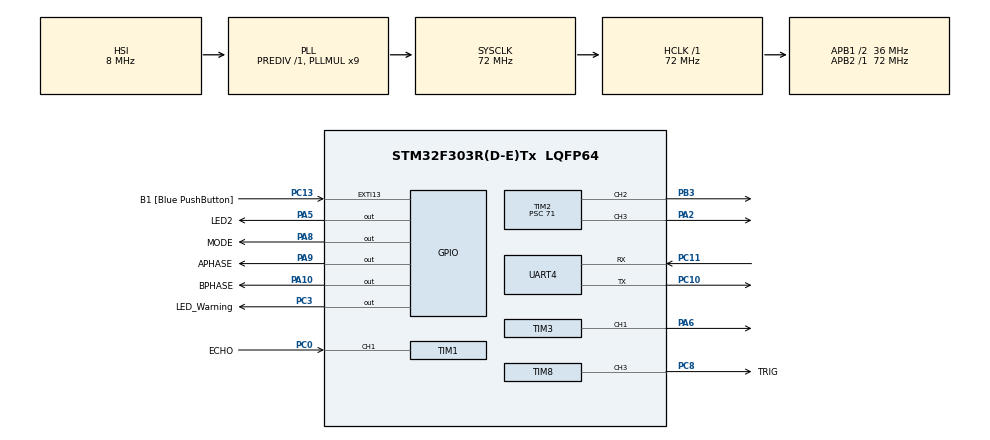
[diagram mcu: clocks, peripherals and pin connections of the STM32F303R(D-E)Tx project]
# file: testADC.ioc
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Dma.Request0=UART4_RX
Dma.UART4_RX.0.Direction=DMA_PERIPH_TO_MEMORY
Dma.UART4_RX.0.Instance=DMA2_Channel3
Dma.UART4_RX.0.MemDataAlignment=DMA_MDATAALIGN_BYTE
Dma.UART4_RX.0.MemInc=DMA_MINC_ENABLE
Dma.UART4_RX.0.Mode=DMA_CIRCULAR
Dma.UART4_RX.0.PeriphDataAlignment=DMA_PDATAALIGN_BYTE
Dma.UART4_RX.0.PeriphInc=DMA_PINC_DISABLE
Dma.UART4_RX.0.Priority=DMA_PRIORITY_LOW
Mcu.Family=STM32F3
Mcu.Name=STM32F303R(D-E)Tx
Mcu.Package=LQFP64
NVIC.DMA2_Channel3_IRQn=true\:0\:0\:false\:false\:true\:true\:true\:true
NVIC.PriorityGroup=NVIC_PRIORITYGROUP_0
NVIC.TIM1_CC_IRQn=true\:0\:0\:false\:false\:true\:true\:true\:true
PA10.GPIO_Label=BPHASE
PA10.Signal=GPIO_Output
PA2.Signal=S_TIM2_CH3
PA5.GPIO_Label=LED2
PA5.Signal=GPIO_Output
PA6.Signal=S_TIM3_CH1
PA8.GPIO_Label=MODE
PA8.Signal=GPIO_Output
PA9.GPIO_Label=APHASE
PA9.Signal=GPIO_Output
PB11.GPIO_Label=TRIG
PB11.Signal=S_TIM2_CH4
PB3.Signal=S_TIM2_CH2
PC0.GPIO_Label=ECHO
PC0.Signal=S_TIM1_CH1
PC10.Mode=Asynchronous
PC10.Signal=UART4_TX
PC11.Mode=Asynchronous
PC11.Signal=UART4_RX
PC13.GPIO_Label=B1 [Blue PushButton]
PC13.GPIO_ModeDefaultEXTI=GPIO_MODE_IT_FALLING
PC13.Signal=GPXTI13
PC3.GPIO_Label=LED_Warning
PC3.Signal=GPIO_Output
PC8.GPIO_Label=TRIG
PC8.Signal=S_TIM8_CH3
ProjectManager.HeapSize=0x200
ProjectManager.StackSize=0x400
ProjectManager.TargetToolchain=STM32CubeIDE
RCC.AHBFreq_Value=72000000
RCC.APB1CLKDivider=RCC_HCLK_DIV2
RCC.APB1Freq_Value=36000000
RCC.APB1TimFreq_Value=72000000
RCC.APB2Freq_Value=72000000
RCC.APB2TimFreq_Value=72000000
RCC.CortexFreq_Value=72000000
RCC.HCLKFreq_Value=72000000
RCC.HSE_VALUE=8000000
RCC.HSI_VALUE=8000000
RCC.LSE_VALUE=32768
RCC.PLLM=8
RCC.PLLMUL=RCC_PLL_MUL9
RCC.PLLN=336
RCC.PLLP=RCC_PLLP_DIV4
RCC.PLLQ=7
RCC.RCC_PLLsource_Clock_Source_FROM_HSE=RCC_HSE_PREDIV_DIV2
RCC.SYSCLKFreq_VALUE=72000000
RCC.SYSCLKSourceVirtual=RCC_SYSCLKSOURCE_PLLCLK
RCC.USBFreq_Value=72000000
SH.S_TIM1_CH1.0=TIM1_CH1,PWM_Input_1
SH.S_TIM2_CH2.0=TIM2_CH2,PWM Generation2 CH2
SH.S_TIM2_CH3.0=TIM2_CH3,PWM Generation3 CH3
SH.S_TIM2_CH4.0=TIM2_CH4
SH.S_TIM3_CH1.0=TIM3_CH1,PWM Generation1 CH1
SH.S_TIM8_CH3.0=TIM8_CH3,PWM Generation3 CH3
TIM1.Prescaler=71
TIM2.AutoReloadPreload=TIM_AUTORELOAD_PRELOAD_DISABLE
TIM2.Channel-PWM\ Generation2\ CH2=TIM_CHANNEL_2
TIM2.Channel-PWM\ Generation3\ CH3=TIM_CHANNEL_3
TIM2.Period=999
TIM2.Prescaler=71
TIM2.Pulse-PWM\ Generation3\ CH3=0
TIM3.Channel-PWM\ Generation1\ CH1=TIM_CHANNEL_1
TIM3.Period=999
TIM3.Prescaler=71
TIM8.Channel-PWM\ Generation3\ CH3=TIM_CHANNEL_3
TIM8.Period=62499
TIM8.Prescaler=71
TIM8.Pulse-PWM\ Generation3\ CH3=10
VP_TIM1_VS_ClockSourceINT.Mode=Internal
VP_TIM2_VS_ClockSourceINT.Mode=Internal
VP_TIM3_VS_ClockSourceINT.Mode=Internal
board=NUCLEO-F303RE

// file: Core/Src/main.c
/* USER CODE BEGIN Header */
/**
  ******************************************************************************
  * @file           : main.c
  * @brief          : Main program body
  ******************************************************************************
  * @attention
  *
  * Copyright (c) 2024 STMicroelectronics.
  * All rights reserved.
  *
  * This software is licensed under terms that can be found in the LICENSE file
  * in the root directory of this software component.
  * If no LICENSE file comes with this software, it is provided AS-IS.
  *
  ******************************************************************************
  */
/* USER CODE END Header */
#include "main.h"
#include "dma.h"
#include "tim.h"
#include "usart.h"
#include "gpio.h"

/* USER CODE BEGIN Includes */
#include <stdio.h>
#include <stdlib.h>
#include <math.h>

/* USER CODE END Includes */

/* USER CODE BEGIN PV */
 struct us_sensor_str distance_sensor;		//inicjalizacja struktury danych czujnika odleglosci

/* USER CODE END PV */

void SystemClock_Config(void);

/* USER CODE BEGIN 0 */
extern uint32_t convertedparameter[2];		//odczyt z ADC

/* USER CODE END 0 */

int main(void)
{

  /* MCU Configuration--------------------------------------------------------*/

  /* Reset of all peripherals, Initializes the Flash interface and the Systick. */
  HAL_Init();

  /* Configure the system clock */
  SystemClock_Config();

  /* Initialize all configured peripherals */
  MX_GPIO_Init();
  MX_DMA_Init();
  MX_TIM2_Init();
  MX_TIM3_Init();
  MX_TIM1_Init();
  MX_TIM8_Init();
  MX_UART4_Init();
  /* USER CODE BEGIN 2 */

  initialise_monitor_handles();
  HAL_TIM_PWM_Init(&htim2);
  HAL_TIM_PWM_Init(&htim3);

  HAL_TIM_PWM_Start(&htim2, TIM_CHANNEL_1);
  HAL_TIM_PWM_Start(&htim2, TIM_CHANNEL_3);
  HAL_TIM_PWM_Start(&htim3, TIM_CHANNEL_1);
  HAL_UART_Init(&huart4);

  /* USER CODE END 2 */

  /* Infinite loop */
  /* USER CODE BEGIN WHILE */
  	//Dataread dataread;
  	Wifidataconv wifidataconv;

  readwifidata(&dataread);

  void HAL_UART_RxCpltCallback(UART_HandleTypeDef *huart);

  RobotState robot = {												//instrancja struktury danych w petli
      .motors = {0, 0, 0, 0, 0, 0, 0, 0},
  };

  //Joystick joystick; 												//instancja struktury danych joysticka
  //joystick_run(&joystick);											//start DMA joysticka

  drv8835_init();													//start drivera (tryb phase/enable, CW, speed = 0)

  hc_sr_04_init(&distance_sensor, &htim1, &htim8, TIM_CHANNEL_3);	//start czujnika

  while (1)
  {
//--------------------------------------------------------------------------------- Sterowanie silnikami
	  	  convertwifidata(&wifidataconv);

	  	  //printf("%d, %d\n", wifidataconv.posX, wifidataconv.posY);

	  	  //Konwersja danych z joysticka (0-1000 dla obu osi)
	      //joystick_conv(&wifidataconv);
	      //printf("Silnik B: %d, silnik A: %d\n", wifidataconv.posX, wifidataconv.posY);
	      HAL_Delay(150);
/*

	      robot.motors.forward_backward = wifidataconv.posY; 	// Oś Y
	      robot.motors.left_right = wifidataconv.posX;       	// Oś X

	      // Normalizacja wartości do zakresu -500 do 500 (środek = 0)
	      robot.motors.normalized_y = robot.motors.forward_backward - 500;
	      robot.motors.normalized_x = robot.motors.left_right - 500;

	      // Dodanie tolerancji dla pozycji neutralnej (martwa strefa)
	      if (abs(robot.motors.normalized_x) <= 25 && abs(robot.motors.normalized_y) <= 25) {
	          drv8835_set_motorA_speed(0);
	          drv8835_set_motorB_speed(0);
	          continue; // Przejdź do następnej iteracji
	      }

	      // Obliczanie prędkości bazowej (przód/tył) i różnicy dla skrętu
	      robot.motors.base_speed = abs( robot.motors.normalized_y) * 2; 	// Prędkość w zakresie 0–1000
	      robot.motors.turn_adjust =  robot.motors.normalized_x * 2;    	// Dostosowanie prędkości dla skrętu
	      //printf("%d, %d\n", robot.motors.base_speed, robot.motors.turn_adjust);
	      //HAL_Delay(100);

	      // Ograniczanie prędkości w zakresie 0–1000
	      if (robot.motors.base_speed > 1000) robot.motors.base_speed = 1000;
	      if (robot.motors.turn_adjust > 1000) robot.motors.turn_adjust = 1000;
	      if (robot.motors.turn_adjust < -1000) robot.motors.turn_adjust = -1000;

	      // Obliczanie prędkości dla każdego silnika
	      robot.motors.speedA = robot.motors.base_speed - robot.motors.turn_adjust; // Silnik A (lewy)
	      robot.motors.speedB = robot.motors.base_speed + robot.motors.turn_adjust; // Silnik B (prawy)

	      // Ograniczanie prędkości silników w zakresie 0–1000
	      robot.motors.speedA = drv8835_limit_motor_speed(robot.motors.speedA);
	      robot.motors.speedB = drv8835_limit_motor_speed(robot.motors.speedB);

	      // Ustawianie kierunku obrotów silników
	      if (robot.motors.normalized_y <= -20) { 	// Tył
	          drv8835_set_motorA_direction(CCWA);
	          drv8835_set_motorB_direction(CCWB);
	      } else { 										// Przód
	          drv8835_set_motorA_direction(CWA);
	          drv8835_set_motorB_direction(CWB);
	      }

	      // Ustawianie prędkości PWM dla silników
	      drv8835_set_motorA_speed(robot.motors.speedA);
	      drv8835_set_motorB_speed(robot.motors.speedB);

	      // uint8_t CWA = HAL_GPIO_ReadPin(GPIOA, GPIO_PIN_9);
	      //uint8_t CWB = HAL_GPIO_ReadPin(GPIOA, GPIO_PIN_10);
	      // HAL_Delay(100);
	      HAL_Delay(50);*/
//--------------------------------------------------------------------------------- Sensor odleglosci
   /* if (distance_sensor.led_state)
	  {
	  	  // Zapal diodę, gdy odległość <= 30 cm
	  	 HAL_GPIO_WritePin(LED_Warning_GPIO_Port, LED_Warning_Pin, GPIO_PIN_SET);
	  }
	  	  else
	  {
	  	  // Zgaś diodę, gdy odległość > 30 cm
	  	  HAL_GPIO_WritePin(LED_Warning_GPIO_Port, LED_Warning_Pin, GPIO_PIN_RESET);
	  }
	  //printf("Measured Distance: %lu cm\n", distance_sensor.distance_cm);
*/
//---------------------------------------------------------------------------------
    /* USER CODE END WHILE */

  }
}

void SystemClock_Config(void)
{
  RCC_OscInitTypeDef RCC_OscInitStruct = {0};
  RCC_ClkInitTypeDef RCC_ClkInitStruct = {0};
  RCC_PeriphCLKInitTypeDef PeriphClkInit = {0};

  /** Initializes the RCC Oscillators according to the specified parameters
  * in the RCC_OscInitTypeDef structure.
  */
  RCC_OscInitStruct.OscillatorType = RCC_OSCILLATORTYPE_HSI;
  RCC_OscInitStruct.HSIState = RCC_HSI_ON;
  RCC_OscInitStruct.HSICalibrationValue = RCC_HSICALIBRATION_DEFAULT;
  RCC_OscInitStruct.PLL.PLLState = RCC_PLL_ON;
  RCC_OscInitStruct.PLL.PLLSource = RCC_PLLSOURCE_HSI;
  RCC_OscInitStruct.PLL.PLLMUL = RCC_PLL_MUL9;
  RCC_OscInitStruct.PLL.PREDIV = RCC_PREDIV_DIV1;
  if (HAL_RCC_OscConfig(&RCC_OscInitStruct) != HAL_OK)
  {
    Error_Handler();
  }

  /** Initializes the CPU, AHB and APB buses clocks
  */
  RCC_ClkInitStruct.ClockType = RCC_CLOCKTYPE_HCLK|RCC_CLOCKTYPE_SYSCLK
                              |RCC_CLOCKTYPE_PCLK1|RCC_CLOCKTYPE_PCLK2;
  RCC_ClkInitStruct.SYSCLKSource = RCC_SYSCLKSOURCE_PLLCLK;
  RCC_ClkInitStruct.AHBCLKDivider = RCC_SYSCLK_DIV1;
  RCC_ClkInitStruct.APB1CLKDivider = RCC_HCLK_DIV2;
  RCC_ClkInitStruct.APB2CLKDivider = RCC_HCLK_DIV1;

  if (HAL_RCC_ClockConfig(&RCC_ClkInitStruct, FLASH_LATENCY_2) != HAL_OK)
  {
    Error_Handler();
  }
  PeriphClkInit.PeriphClockSelection = RCC_PERIPHCLK_UART4|RCC_PERIPHCLK_TIM1
                              |RCC_PERIPHCLK_TIM8|RCC_PERIPHCLK_TIM2
                              |RCC_PERIPHCLK_TIM34;
  PeriphClkInit.Uart4ClockSelection = RCC_UART4CLKSOURCE_PCLK1;
  PeriphClkInit.Tim1ClockSelection = RCC_TIM1CLK_HCLK;
  PeriphClkInit.Tim8ClockSelection = RCC_TIM8CLK_HCLK;
  PeriphClkInit.Tim2ClockSelection = RCC_TIM2CLK_HCLK;
  PeriphClkInit.Tim34ClockSelection = RCC_TIM34CLK_HCLK;
  if (HAL_RCCEx_PeriphCLKConfig(&PeriphClkInit) != HAL_OK)
  {
    Error_Handler();
  }
}

/* USER CODE BEGIN 4 */
//------------------------------------------------------------------------------------------------------------------
void HAL_TIM_IC_CaptureCallback(TIM_HandleTypeDef *htim)		//callback z czujnika odleglosci gdy dystans bedzie
																//bedzie mniejszy niz 30 cm
{
	if(TIM1 == htim->Instance)
	{
		uint32_t echo_us;

		echo_us = HAL_TIM_ReadCapturedValue(htim, TIM_CHANNEL_2);
		distance_sensor.distance_cm = hc_sr_04_convert_us_to_cm(echo_us);

		if (distance_sensor.distance_cm <= 30)
		{
		    distance_sensor.led_state = 1;  // Zapal diodę
		}
		else
		{
		    distance_sensor.led_state = 0;  // Zgaś diodę
		}
	}
}
//------------------------------------------------------------------------------------------------------------------

/* USER CODE END 4 */

void Error_Handler(void)
{
  __disable_irq();
  while (1)
  {
  }
}
